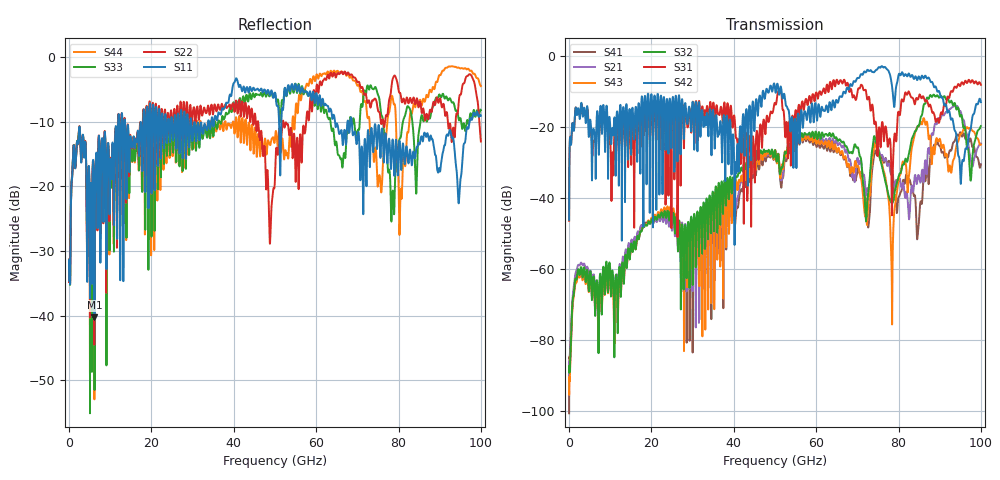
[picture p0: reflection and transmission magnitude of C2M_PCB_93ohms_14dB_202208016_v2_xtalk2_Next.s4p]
! Info: Touchstone file created by Circ.  Input file=Intel_C2M_200G_3p5in_202208016_staggered.circ
# Hz S RI R 50
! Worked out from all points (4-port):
!   10000 points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, 10 MHz to 100 GHz, reference 50 ohm
!   strongest paths, dB at 10 MHz, 25.01 GHz, 50.01 GHz, 75.01 GHz, 100 GHz:
!     S42: -46.1, -14.9, -9.1, -3.3, -12.9
!     S31: -46.4, -18.0, -13.2, -24.3, -8.0
!     S32: -87.3, -47.4, -26.5, -26.0, -19.7
!     S43: -94.4, -44.4, -26.5, -26.5, -24.9
!     S21: -89.3, -49.1, -26.7, -25.9, -24.6
!     S41: -100.6, -46.1, -27.0, -27.4, -30.5
!   lowest |S11| = -40.2 dB at 6.16 GHz (marker M1), VSWR 1.02, Z = 49.7 - j0.928 ohm
!   |S11| at or under -10 dB: start of sweep to 11.91 GHz; 13.59 GHz to 17.99 GHz (4.402 GHz wide, 27.9 % of centre); 68.65 GHz to 97.24 GHz (28.59 GHz wide, 34.5 % of centre)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
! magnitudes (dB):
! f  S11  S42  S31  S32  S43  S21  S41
! 10 MHz  -34.6  -46.1  -46.4  -87.3  -94.4  -89.3  -100.6
! 6.16 GHz  -40.2  -21.5  -23.9  -65.5  -67.9  -62.9  -65.0
! 56.68 GHz  -4.8  -19.2  -12.8  -22.4  -23.7  -22.6  -24.3
! 74.58 GHz  -12.2  -3.8  -19.6  -24.3  -25.8  -25.0  -27.4
! 78.38 GHz  -14.4  -8.1  -44.4  -41.3  -64.4  -33.4  -32.4
! 84.98 GHz  -13.4  -5.8  -11.1  -19.5  -19.7  -33.9  -46.1
! 100 GHz  -9.1  -12.9  -8.0  -19.7  -24.9  -24.6  -30.5
